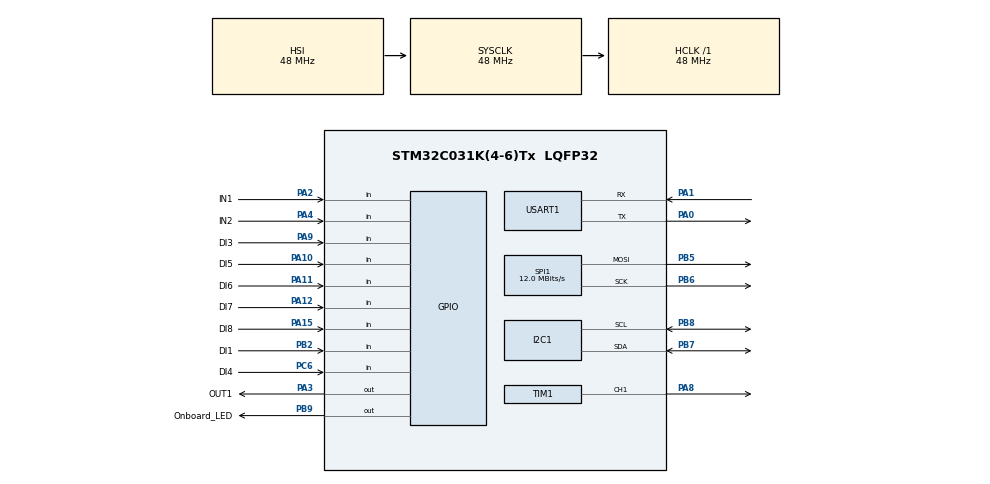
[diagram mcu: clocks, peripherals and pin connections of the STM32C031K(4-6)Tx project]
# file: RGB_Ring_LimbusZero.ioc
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Dma.Request0=TIM1_CH1
Dma.Request1=SPI1_TX
Dma.SPI1_TX.1.Direction=DMA_MEMORY_TO_PERIPH
Dma.SPI1_TX.1.EventEnable=DISABLE
Dma.SPI1_TX.1.Instance=DMA1_Channel2
Dma.SPI1_TX.1.MemDataAlignment=DMA_MDATAALIGN_HALFWORD
Dma.SPI1_TX.1.MemInc=DMA_MINC_ENABLE
Dma.SPI1_TX.1.Mode=DMA_NORMAL
Dma.SPI1_TX.1.PeriphDataAlignment=DMA_PDATAALIGN_HALFWORD
Dma.SPI1_TX.1.PeriphInc=DMA_PINC_DISABLE
Dma.SPI1_TX.1.Polarity=HAL_DMAMUX_REQ_GEN_RISING
Dma.SPI1_TX.1.Priority=DMA_PRIORITY_VERY_HIGH
Dma.SPI1_TX.1.RequestNumber=1
Dma.SPI1_TX.1.SignalID=NONE
Dma.SPI1_TX.1.SyncEnable=DISABLE
Dma.SPI1_TX.1.SyncPolarity=HAL_DMAMUX_SYNC_NO_EVENT
Dma.SPI1_TX.1.SyncRequestNumber=1
Dma.SPI1_TX.1.SyncSignalID=NONE
Dma.TIM1_CH1.0.Direction=DMA_MEMORY_TO_PERIPH
Dma.TIM1_CH1.0.EventEnable=DISABLE
Dma.TIM1_CH1.0.Instance=DMA1_Channel1
Dma.TIM1_CH1.0.MemDataAlignment=DMA_MDATAALIGN_HALFWORD
Dma.TIM1_CH1.0.MemInc=DMA_MINC_ENABLE
Dma.TIM1_CH1.0.Mode=DMA_NORMAL
Dma.TIM1_CH1.0.PeriphDataAlignment=DMA_PDATAALIGN_HALFWORD
Dma.TIM1_CH1.0.PeriphInc=DMA_PINC_DISABLE
Dma.TIM1_CH1.0.Polarity=HAL_DMAMUX_REQ_GEN_RISING
Dma.TIM1_CH1.0.Priority=DMA_PRIORITY_VERY_HIGH
Dma.TIM1_CH1.0.RequestNumber=1
Dma.TIM1_CH1.0.SignalID=NONE
Dma.TIM1_CH1.0.SyncEnable=DISABLE
Dma.TIM1_CH1.0.SyncPolarity=HAL_DMAMUX_SYNC_NO_EVENT
Dma.TIM1_CH1.0.SyncRequestNumber=1
Dma.TIM1_CH1.0.SyncSignalID=NONE
I2C1.Timing=0x10805D88
Mcu.Family=STM32C0
Mcu.Name=STM32C031K(4-6)Tx
Mcu.Package=LQFP32
NVIC.DMA1_Channel1_IRQn=true\:0\:0\:false\:false\:true\:false\:true\:true
NVIC.DMA1_Channel2_3_IRQn=true\:0\:0\:false\:false\:true\:true\:true\:true
NVIC.USART1_IRQn=true\:0\:0\:false\:false\:true\:true\:true\:true
PA0.GPIO_PuPd=GPIO_PULLUP
PA0.GPIO_Speed=GPIO_SPEED_FREQ_VERY_HIGH
PA0.Mode=Asynchronous
PA0.Signal=USART1_TX
PA1.GPIO_PuPd=GPIO_PULLUP
PA1.GPIO_Speed=GPIO_SPEED_FREQ_VERY_HIGH
PA1.Mode=Asynchronous
PA1.Signal=USART1_RX
PA10.GPIO_Label=DI5
PA10.Signal=GPIO_Input
PA11\ [PA9].GPIO_Label=DI6
PA11\ [PA9].Signal=GPIO_Input
PA12\ [PA10].GPIO_Label=DI7
PA12\ [PA10].Signal=GPIO_Input
PA13.Mode=Serial_Wire
PA13.Signal=DEBUG_SWDIO
PA14-BOOT0.Mode=Serial_Wire
PA14-BOOT0.Signal=DEBUG_SWCLK
PA15.GPIO_Label=DI8
PA15.Signal=GPIO_Input
PA2.GPIO_Label=IN1
PA2.GPIO_PuPd=GPIO_PULLUP
PA2.Signal=GPIO_Input
PA3.GPIO_Label=OUT1
PA3.PinState=GPIO_PIN_SET
PA3.Signal=GPIO_Output
PA4.GPIO_Label=IN2
PA4.GPIO_PuPd=GPIO_PULLUP
PA4.Signal=GPIO_Input
PA8.GPIO_PuPd=GPIO_PULLUP
PA8.GPIO_Speed=GPIO_SPEED_FREQ_VERY_HIGH
PA8.Signal=S_TIM1_CH1
PA9.GPIO_Label=DI3
PA9.Signal=GPIO_Input
PB2.GPIO_Label=DI1
PB2.Signal=GPIO_Input
PB5.GPIO_Speed=GPIO_SPEED_FREQ_HIGH
PB5.Mode=TX_Only_Simplex_Unidirect_Master
PB5.Signal=SPI1_MOSI
PB6.GPIO_PuPd=GPIO_PULLDOWN
PB6.GPIO_Speed=GPIO_SPEED_FREQ_HIGH
PB6.Mode=TX_Only_Simplex_Unidirect_Master
PB6.Signal=SPI1_SCK
PB7.GPIO_Pu=GPIO_PULLUP
PB7.Mode=I2C
PB7.Signal=I2C1_SDA
PB8.GPIO_Pu=GPIO_PULLUP
PB8.Mode=I2C
PB8.Signal=I2C1_SCL
PB9.GPIO_Label=Onboard_LED
PB9.Signal=GPIO_Output
PC6.GPIO_Label=DI4
PC6.Signal=GPIO_Input
ProjectManager.HeapSize=0x200
ProjectManager.StackSize=0x400
ProjectManager.TargetToolchain=STM32CubeIDE
RCC.ADCCLockSelection=RCC_ADCCLKSOURCE_HSIKER
RCC.ADCFreq_Value=6000000
RCC.AHBFreq_Value=48000000
RCC.CortexFreq_Value=48000000
RCC.EXTERNAL_CLOCK_VALUE=12288000
RCC.HCLKFreq_Value=48000000
RCC.HSE_VALUE=8000000
RCC.HSIKERCLKDivider=RCC_HSIKER_DIV8
RCC.HSISYSCLKDivider=RCC_HSI_DIV1
RCC.HSI_VALUE=48000000
RCC.LSE_VALUE=32768
RCC.SYSCLKFreq_VALUE=48000000
SH.S_TIM1_CH1.0=TIM1_CH1,PWM Generation1 CH1
SPI1.BaudRatePrescaler=SPI_BAUDRATEPRESCALER_4
SPI1.CLKPhase=SPI_PHASE_1EDGE
SPI1.CLKPolarity=SPI_POLARITY_LOW
SPI1.CalculateBaudRate=12.0 MBits/s
SPI1.DataSize=SPI_DATASIZE_16BIT
SPI1.Direction=SPI_DIRECTION_2LINES
SPI1.FirstBit=SPI_FIRSTBIT_MSB
SPI1.Mode=SPI_MODE_MASTER
SPI1.NSSPMode=SPI_NSS_PULSE_DISABLE
SPI1.VirtualType=VM_MASTER
TIM1.Channel-PWM\ Generation1\ CH1=TIM_CHANNEL_1
TIM1.Period=60-1
USART1.VirtualMode-Asynchronous=VM_ASYNC
board=custom

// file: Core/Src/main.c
/* USER CODE BEGIN Header */
/**
  ******************************************************************************
  * @file           : main.c
  * @brief          : Main program body
  ******************************************************************************
  * @attention
  *
  * Copyright (c) 2025 STMicroelectronics.
  * All rights reserved.
  *
  * This software is licensed under terms that can be found in the LICENSE file
  * in the root directory of this software component.
  * If no LICENSE file comes with this software, it is provided AS-IS.
  *
  ******************************************************************************
  */
/* USER CODE END Header */
#include "main.h"
#include "dma.h"
#include "i2c.h"
#include "spi.h"
#include "tim.h"
#include "usart.h"
#include "gpio.h"

/* USER CODE BEGIN Includes */
#include "RGB_Ball/rgb_ball.h"
/* USER CODE END Includes */

void SystemClock_Config(void);

int main(void)
{

  /* MCU Configuration--------------------------------------------------------*/

  /* Reset of all peripherals, Initializes the Flash interface and the Systick. */
  HAL_Init();

  /* Configure the system clock */
  SystemClock_Config();

  /* Initialize all configured peripherals */
  MX_GPIO_Init();
  MX_DMA_Init();
  MX_SPI1_Init();
  MX_USART1_UART_Init();
  MX_I2C1_Init();
  MX_TIM1_Init();
  /* USER CODE BEGIN 2 */

  rgb_ball_init();
  uint8_t mode = rgb_ball_read_jumpers();

  switch (mode) {
	case 1:
		rgb_ball_blink(1);
		DELAY(500);
		Haunted_Pickle();
		break;
	case 2:
		rgb_ball_blink(2);
		DELAY(500);
		rgb_ball_christmas_color_fade();
		break;
	case 3:
		rgb_ball_blink(3);
		DELAY(500);
		rgb_ball_rainbow_fade();
		break;
	default:
		break;
}

  // never get here!

  /* USER CODE END 2 */

  /* Infinite loop */
  while (1)
  {

  }
}

void SystemClock_Config(void)
{
  RCC_OscInitTypeDef RCC_OscInitStruct = {0};
  RCC_ClkInitTypeDef RCC_ClkInitStruct = {0};

  __HAL_FLASH_SET_LATENCY(FLASH_LATENCY_1);

  /** Initializes the RCC Oscillators according to the specified parameters
  * in the RCC_OscInitTypeDef structure.
  */
  RCC_OscInitStruct.OscillatorType = RCC_OSCILLATORTYPE_HSI;
  RCC_OscInitStruct.HSIState = RCC_HSI_ON;
  RCC_OscInitStruct.HSIDiv = RCC_HSI_DIV1;
  RCC_OscInitStruct.HSICalibrationValue = RCC_HSICALIBRATION_DEFAULT;
  if (HAL_RCC_OscConfig(&RCC_OscInitStruct) != HAL_OK)
  {
    Error_Handler();
  }

  /** Initializes the CPU, AHB and APB buses clocks
  */
  RCC_ClkInitStruct.ClockType = RCC_CLOCKTYPE_HCLK|RCC_CLOCKTYPE_SYSCLK
                              |RCC_CLOCKTYPE_PCLK1;
  RCC_ClkInitStruct.SYSCLKSource = RCC_SYSCLKSOURCE_HSI;
  RCC_ClkInitStruct.SYSCLKDivider = RCC_SYSCLK_DIV1;
  RCC_ClkInitStruct.AHBCLKDivider = RCC_HCLK_DIV1;
  RCC_ClkInitStruct.APB1CLKDivider = RCC_APB1_DIV1;

  if (HAL_RCC_ClockConfig(&RCC_ClkInitStruct, FLASH_LATENCY_1) != HAL_OK)
  {
    Error_Handler();
  }
}

void Error_Handler(void)
{
  __disable_irq();
  while (1)
  {
  }
}
